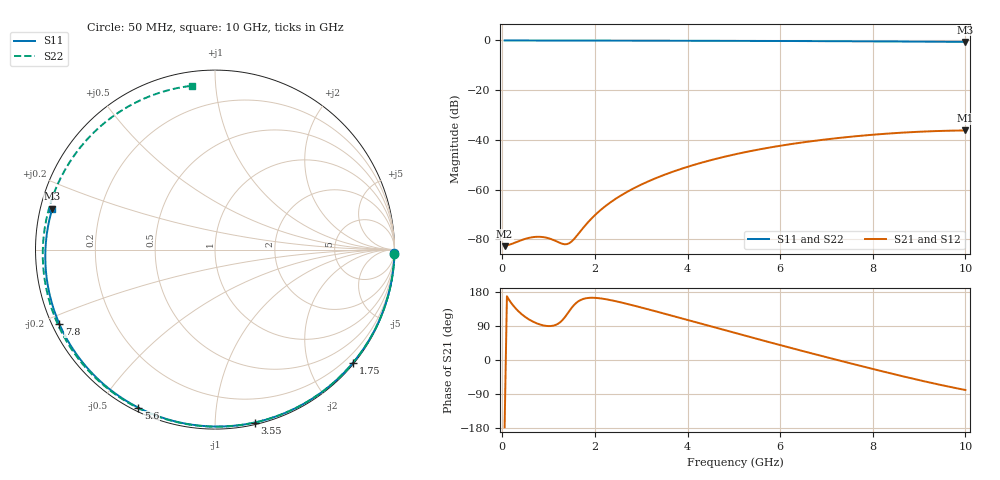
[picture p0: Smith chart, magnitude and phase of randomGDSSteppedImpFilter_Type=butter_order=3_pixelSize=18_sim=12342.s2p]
! freq	dB(S11)	phase(S11)	dB(S12)	phase(S12)
!  dB(S21)	phase(S21)	dB(S22)	phase(S22)
!S-par simulation data
#  GHz  S  DB  R 50
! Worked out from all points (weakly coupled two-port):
!   200 points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, 50 MHz to 10 GHz, reference 50 ohm
!   highest |S21| = -36.20 dB at 10 GHz (marker M1); lowest = -82.8 dB at 50 MHz (marker M2)
!   lowest |S11| = -0.6 dB at 10 GHz (marker M3), VSWR 29.72, Z = 1.71 + j6.17 ohm
!   |S11| at or under -10 dB: nowhere
!   |S22| runs from -0.7 to 0.0 dB; largest |S21 - S12| = 0
!   S11 on the Smith chart (normalised r, x): 50 MHz: open; 1.75 GHz: 0.03, -2.79; 3.55 GHz: 0.02, -1.25; 5.6 GHz: 0.02, -0.63; 7.8 GHz: 0.02, -0.23; 10 GHz: 0.03, +0.12
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0.05  -0.00 -1.2  -82.76 -177.6  -82.76 -177.6  -0.00 -1.4
0.45  -0.01 -10.3  -80.08 117.8  -80.08 117.8  -0.01 -12.6
0.75  -0.02 -17.2  -78.99 96.5  -78.99 96.5  -0.02 -20.9
1.1  -0.03 -25.1  -80.22 90.6  -80.22 90.6  -0.04 -30.5
1.55  -0.04 -35.1  -79.88 145.2  -79.88 145.2  -0.05 -42.6
1.75  -0.05 -39.5  -75.33 161.2  -75.33 161.2  -0.06 -47.9
2.05  -0.06 -46.0  -69.41 163.6  -69.41 163.6  -0.07 -55.8
2.4  -0.07 -53.5  -64.30 156.5  -64.30 156.5  -0.08 -64.9
2.85  -0.08 -62.9  -59.36 143.3  -59.36 143.3  -0.10 -76.3
3.4  -0.10 -74.1  -54.77 125.6  -54.77 125.6  -0.12 -89.8
3.55  -0.10 -77.1  -53.70 120.6  -53.70 120.6  -0.12 -93.5
4.3  -0.13 -91.8  -49.18 95.7  -49.18 95.7  -0.15 -111.3
5.05  -0.16 -105.8  -45.70 70.6  -45.70 70.6  -0.19 -128.8
5.6  -0.19 -115.8  -43.65 52.4  -43.65 52.4  -0.23 -141.5
6.15  -0.22 -125.6  -41.93 34.5  -41.93 34.5  -0.27 -154.3
6.7  -0.26 -135.3  -40.48 16.9  -40.48 16.9  -0.31 -167.4
7.25  -0.30 -144.8  -39.26 -0.5  -39.26 -0.5  -0.36 179.2
7.8  -0.35 -154.4  -38.24 -17.5  -38.24 -17.5  -0.42 165.0
8.35  -0.40 -164.0  -37.43 -34.2  -37.43 -34.2  -0.49 150.1
9.15  -0.48 -178.3  -36.60 -57.3  -36.60 -57.3  -0.59 126.3
9.6  -0.54 173.4  -36.33 -69.3  -36.33 -69.3  -0.65 111.8
10  -0.58 165.9  -36.20 -79.1  -36.20 -79.1  -0.71 98.0
